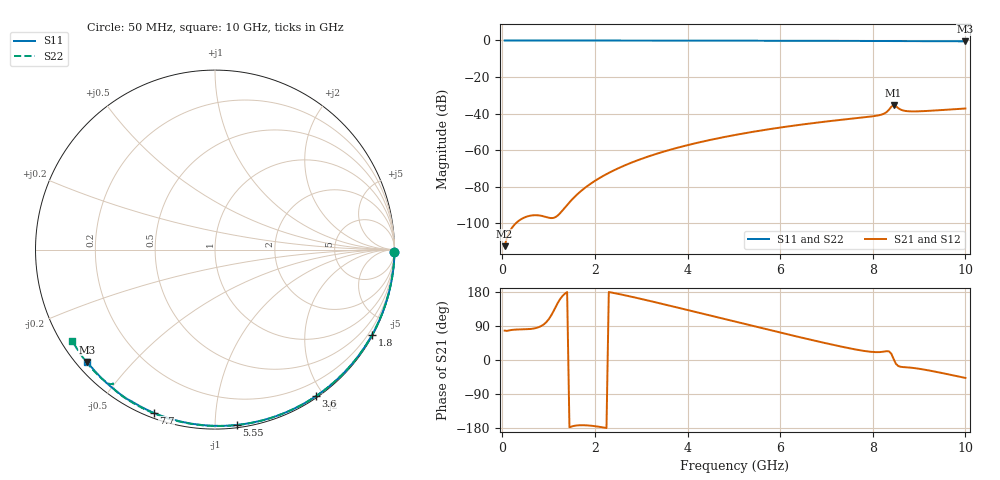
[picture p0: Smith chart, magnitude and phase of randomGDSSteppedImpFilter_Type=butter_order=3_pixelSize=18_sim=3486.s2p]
! freq	dB(S11)	phase(S11)	dB(S12)	phase(S12)
!  dB(S21)	phase(S21)	dB(S22)	phase(S22)
!S-par simulation data
#  GHz  S  DB  R 50
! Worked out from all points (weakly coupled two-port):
!   200 points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, 50 MHz to 10 GHz, reference 50 ohm
!   highest |S21| = -35.39 dB at 8.45 GHz (marker M1); lowest = -112.6 dB at 50 MHz (marker M2)
!   lowest |S11| = -0.5 dB at 10 GHz (marker M3), VSWR 37.29, Z = 1.53 - j18.8 ohm
!   |S11| at or under -10 dB: nowhere
!   |S22| runs from -0.6 to 0.0 dB; largest |S21 - S12| = 0
!   S11 on the Smith chart (normalised r, x): 50 MHz: open; 1.8 GHz: 0.03, -3.94; 3.6 GHz: 0.02, -1.90; 5.55 GHz: 0.02, -1.13; 7.7 GHz: 0.02, -0.69; 10 GHz: 0.03, -0.38
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0.05  -0.00 -0.8  -112.61 77.6  -112.61 77.6  -0.00 -0.9
0.9  -0.02 -14.4  -96.33 94.4  -96.33 94.4  -0.02 -15.3
1.75  -0.04 -27.7  -81.38 -172.1  -81.38 -172.1  -0.04 -29.5
1.8  -0.04 -28.5  -80.39 -172.3  -80.39 -172.3  -0.04 -30.4
2.2  -0.04 -34.6  -73.85 -178.4  -73.85 -178.4  -0.05 -36.9
2.5  -0.05 -39.2  -70.02 174.6  -70.02 174.6  -0.05 -41.8
2.9  -0.06 -45.2  -65.80 163.9  -65.80 163.9  -0.06 -48.2
3.4  -0.07 -52.6  -61.50 149.6  -61.50 149.6  -0.07 -56.1
3.6  -0.07 -55.6  -60.00 143.8  -60.00 143.8  -0.08 -59.2
4.3  -0.09 -65.6  -55.51 123.0  -55.51 123.0  -0.10 -69.8
5.05  -0.12 -76.1  -51.63 100.5  -51.63 100.5  -0.12 -80.9
5.55  -0.14 -82.9  -49.44 85.7  -49.44 85.7  -0.14 -88.1
6.7  -0.19 -98.0  -45.28 52.3  -45.28 52.3  -0.20 -104.1
7.7  -0.25 -110.7  -42.39 26.2  -42.39 26.2  -0.27 -117.6
8.15  -0.29 -116.2  -40.86 20.9  -40.86 20.9  -0.32 -123.7
8.25  -0.30 -117.4  -39.99 22.4  -39.99 22.4  -0.34 -125.2
8.35  -0.31 -118.6  -37.92 22.7  -37.92 22.7  -0.42 -126.8
8.4  -0.31 -119.2  -36.30 16.6  -36.30 16.6  -0.50 -127.3
8.45  -0.31 -119.8  -35.39 2.7  -35.39 2.7  -0.56 -127.3
8.6  -0.31 -121.7  -37.81 -17.9  -37.81 -17.9  -0.42 -128.6
8.8  -0.34 -124.2  -38.81 -20.0  -38.81 -20.0  -0.39 -131.4
10  -0.47 -138.7  -37.25 -47.4  -37.25 -47.4  -0.50 -147.3
